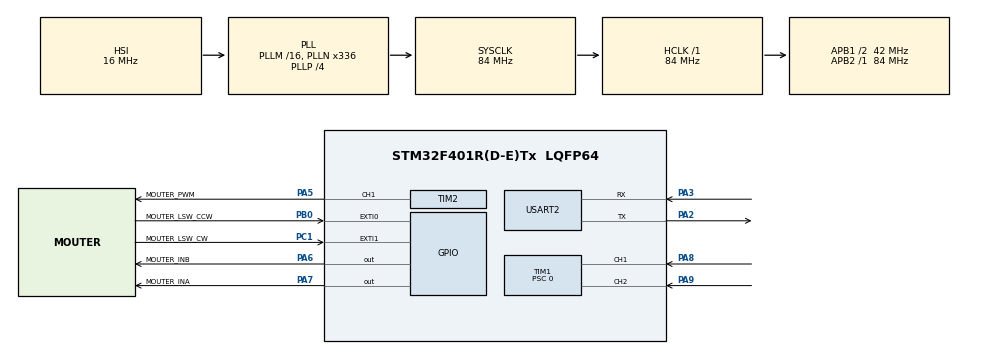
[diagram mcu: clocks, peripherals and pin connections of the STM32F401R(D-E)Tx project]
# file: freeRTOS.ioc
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FREERTOS.INCLUDE_vTaskDelayUntil=1
FREERTOS.Mutexes01=UartMutex,Dynamic,NULL
FREERTOS.Tasks01=defaultTask,0,256,RegulationTask,Default,NULL,Dynamic,NULL,NULL;MessageReadTask,-3,256,threadMessageRead,Default,NULL,Dynamic,NULL,NULL;RegDataSendTask,-3,512,TestDataSend,Default,NULL,Dynamic,NULL,NULL;LimitSwitchTask,2,128,LimitSwitchEXINT,Default,NULL,Dynamic,NULL,NULL
Mcu.Family=STM32F4
Mcu.Name=STM32F401R(D-E)Tx
Mcu.Package=LQFP64
NVIC.EXTI0_IRQn=true\:5\:0\:false\:false\:true\:true\:true
NVIC.EXTI1_IRQn=true\:5\:0\:false\:false\:true\:true\:true
NVIC.PriorityGroup=NVIC_PRIORITYGROUP_4
NVIC.RCC_IRQn=true\:5\:0\:false\:false\:true\:true\:true
NVIC.TIM1_BRK_TIM9_IRQn=true\:5\:0\:false\:false\:true\:true\:true
NVIC.TIM1_CC_IRQn=true\:5\:0\:false\:false\:true\:true\:true
NVIC.TIM1_TRG_COM_TIM11_IRQn=true\:5\:0\:false\:false\:true\:true\:true
NVIC.TIM1_UP_TIM10_IRQn=true\:0\:0\:false\:false\:true\:false\:true
NVIC.TimeBase=TIM1_UP_TIM10_IRQn
NVIC.TimeBaseIP=TIM10
PA13.Mode=Serial_Wire
PA13.Signal=SYS_JTMS-SWDIO
PA14.Mode=Serial_Wire
PA14.Signal=SYS_JTCK-SWCLK
PA2.GPIO_Mode=GPIO_MODE_AF_PP
PA2.GPIO_PuPd=GPIO_PULLUP
PA2.GPIO_Speed=GPIO_SPEED_FREQ_VERY_HIGH
PA2.Mode=Asynchronous
PA2.Signal=USART2_TX
PA3.GPIO_Mode=GPIO_MODE_AF_PP
PA3.GPIO_PuPd=GPIO_PULLUP
PA3.GPIO_Speed=GPIO_SPEED_FREQ_VERY_HIGH
PA3.Mode=Asynchronous
PA3.Signal=USART2_RX
PA5.GPIO_Label=MOUTER_PWM
PA5.Signal=S_TIM2_CH1_ETR
PA6.GPIO_Label=MOUTER_INB
PA6.Signal=GPIO_Output
PA7.GPIO_Label=MOUTER_INA
PA7.Signal=GPIO_Output
PA8.GPIO_ModeDefaultPP=GPIO_MODE_AF_PP
PA8.GPIO_PuPd=GPIO_PULLUP
PA8.GPIO_Speed=GPIO_SPEED_FREQ_LOW
PA8.Signal=S_TIM1_CH1
PA9.GPIO_ModeDefaultPP=GPIO_MODE_AF_PP
PA9.GPIO_PuPd=GPIO_PULLUP
PA9.GPIO_Speed=GPIO_SPEED_FREQ_LOW
PA9.Signal=S_TIM1_CH2
PB0.GPIO_Label=MOUTER_LSW_CCW
PB0.Signal=GPXTI0
PB3.Signal=SYS_JTDO-SWO
PC1.GPIO_Label=MOUTER_LSW_CW
PC1.Signal=GPXTI1
PC14-OSC32_IN.Mode=LSE-External-Oscillator
PC14-OSC32_IN.Signal=RCC_OSC32_IN
PC15-OSC32_OUT.Mode=LSE-External-Oscillator
PC15-OSC32_OUT.Signal=RCC_OSC32_OUT
PH0\ -\ OSC_IN.Mode=HSE-External-Clock-Source
PH0\ -\ OSC_IN.Signal=RCC_OSC_IN
PH1\ -\ OSC_OUT.Mode=HSE-External-Clock-Source
PH1\ -\ OSC_OUT.Signal=RCC_OSC_OUT
ProjectManager.HeapSize=0x200
ProjectManager.StackSize=0x400
ProjectManager.TargetToolchain=TrueSTUDIO
RCC.48MHZClocksFreq_Value=48000000
RCC.AHBFreq_Value=84000000
RCC.APB1CLKDivider=RCC_HCLK_DIV2
RCC.APB1Freq_Value=42000000
RCC.APB1TimFreq_Value=84000000
RCC.APB2Freq_Value=84000000
RCC.APB2TimFreq_Value=84000000
RCC.CortexFreq_Value=84000000
RCC.HCLKFreq_Value=84000000
RCC.HSE_VALUE=8000000
RCC.HSI_VALUE=16000000
RCC.PLLN=336
RCC.PLLP=RCC_PLLP_DIV4
RCC.PLLQ=7
RCC.SYSCLKFreq_VALUE=84000000
RCC.SYSCLKSource=RCC_SYSCLKSOURCE_PLLCLK
RCC.VCOOutputFreq_Value=336000000
SH.S_TIM1_CH1.0=TIM1_CH1,Encoder_Interface
SH.S_TIM1_CH2.0=TIM1_CH2,Encoder_Interface
SH.S_TIM2_CH1_ETR.0=TIM2_CH1,PWM Generation1 CH1
TIM1.EncoderMode=TIM_ENCODERMODE_TI12
TIM1.IC2Filter=6
TIM1.Period=65535
TIM1.Prescaler=0
TIM2.Channel-PWM\ Generation1\ CH1=TIM_CHANNEL_1
TIM2.Period=1050
TIM2.Prescaler=3
USART2.VirtualMode=VM_ASYNC
VP_FREERTOS_VS_ENABLE.Mode=Enabled
VP_SYS_VS_tim10.Mode=TIM10
board=NUCLEO-F401RE

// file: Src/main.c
/* USER CODE BEGIN Header */
/**
 ******************************************************************************
 * @file           : main.c
 * @brief          : Main program body
 ******************************************************************************
 ** This notice applies to any and all portions of this file
 * that are not between comment pairs USER CODE BEGIN and
 * USER CODE END. Other portions of this file, whether
 * inserted by the user or by software development tools
 * are owned by their respective copyright owners.
 *
 * COPYRIGHT(c) 2019 STMicroelectronics
 *
 * Redistribution and use in source and binary forms, with or without modification,
 * are permitted provided that the following conditions are met:
 *   1. Redistributions of source code must retain the above copyright notice,
 *      this list of conditions and the following disclaimer.
 *   2. Redistributions in binary form must reproduce the above copyright notice,
 *      this list of conditions and the following disclaimer in the documentation
 *      and/or other materials provided with the distribution.
 *   3. Neither the name of STMicroelectronics nor the names of its contributors
 *      may be used to endorse or promote products derived from this software
 *      without specific prior written permission.
 *
 * THIS SOFTWARE IS PROVIDED BY THE COPYRIGHT HOLDERS AND CONTRIBUTORS "AS IS"
 * AND ANY EXPRESS OR IMPLIED WARRANTIES, INCLUDING, BUT NOT LIMITED TO, THE
 * IMPLIED WARRANTIES OF MERCHANTABILITY AND FITNESS FOR A PARTICULAR PURPOSE ARE
 * DISCLAIMED. IN NO EVENT SHALL THE COPYRIGHT HOLDER OR CONTRIBUTORS BE LIABLE
 * FOR ANY DIRECT, INDIRECT, INCIDENTAL, SPECIAL, EXEMPLARY, OR CONSEQUENTIAL
 * DAMAGES (INCLUDING, BUT NOT LIMITED TO, PROCUREMENT OF SUBSTITUTE GOODS OR
 * SERVICES; LOSS OF USE, DATA, OR PROFITS; OR BUSINESS INTERRUPTION) HOWEVER
 * CAUSED AND ON ANY THEORY OF LIABILITY, WHETHER IN CONTRACT, STRICT LIABILITY,
 * OR TORT (INCLUDING NEGLIGENCE OR OTHERWISE) ARISING IN ANY WAY OUT OF THE USE
 * OF THIS SOFTWARE, EVEN IF ADVISED OF THE POSSIBILITY OF SUCH DAMAGE.
 *
 ******************************************************************************
 */
/* USER CODE END Header */

#include "main.h"
#include "cmsis_os.h"
#include "tim.h"
#include "usart.h"
#include "gpio.h"

void SystemClock_Config(void);
void MX_FREERTOS_Init(void);

int main(void)
{

  /* MCU Configuration--------------------------------------------------------*/

  /* Reset of all peripherals, Initializes the Flash interface and the Systick. */
  HAL_Init();

  /* Configure the system clock */
  SystemClock_Config();

  /* Initialize all configured peripherals */
  MX_GPIO_Init();
  MX_USART2_UART_Init();
  MX_TIM1_Init();
  MX_TIM2_Init();
  /* USER CODE BEGIN 2 */
	//xTaskCreate(Led_GateKeeper,(const char* const)"led_gate", configMINIMAL_STACK_SIZE, 0, 2, 0);
	HAL_TIM_Encoder_Start(&htim1, TIM_CHANNEL_1);
	HAL_TIM_Encoder_Start(&htim1, TIM_CHANNEL_2);
	HAL_TIM_PWM_Start(&htim2, TIM_CHANNEL_1);
  /* USER CODE END 2 */

  /* Call init function for freertos objects (in freertos.c) */
  MX_FREERTOS_Init();

  /* Start scheduler */
  osKernelStart();

  /* We should never get here as control is now taken by the scheduler */

  /* Infinite loop */
	while (1) {

	}
}

void SystemClock_Config(void)
{
  RCC_OscInitTypeDef RCC_OscInitStruct = {0};
  RCC_ClkInitTypeDef RCC_ClkInitStruct = {0};

  /**Configure the main internal regulator output voltage
  */
  __HAL_RCC_PWR_CLK_ENABLE();
  __HAL_PWR_VOLTAGESCALING_CONFIG(PWR_REGULATOR_VOLTAGE_SCALE2);
  /**Initializes the CPU, AHB and APB busses clocks
  */
  RCC_OscInitStruct.OscillatorType = RCC_OSCILLATORTYPE_HSI;
  RCC_OscInitStruct.HSIState = RCC_HSI_ON;
  RCC_OscInitStruct.HSICalibrationValue = RCC_HSICALIBRATION_DEFAULT;
  RCC_OscInitStruct.PLL.PLLState = RCC_PLL_ON;
  RCC_OscInitStruct.PLL.PLLSource = RCC_PLLSOURCE_HSI;
  RCC_OscInitStruct.PLL.PLLM = 16;
  RCC_OscInitStruct.PLL.PLLN = 336;
  RCC_OscInitStruct.PLL.PLLP = RCC_PLLP_DIV4;
  RCC_OscInitStruct.PLL.PLLQ = 7;
  if (HAL_RCC_OscConfig(&RCC_OscInitStruct) != HAL_OK)
  {
    Error_Handler();
  }
  /**Initializes the CPU, AHB and APB busses clocks
  */
  RCC_ClkInitStruct.ClockType = RCC_CLOCKTYPE_HCLK|RCC_CLOCKTYPE_SYSCLK
                              |RCC_CLOCKTYPE_PCLK1|RCC_CLOCKTYPE_PCLK2;
  RCC_ClkInitStruct.SYSCLKSource = RCC_SYSCLKSOURCE_PLLCLK;
  RCC_ClkInitStruct.AHBCLKDivider = RCC_SYSCLK_DIV1;
  RCC_ClkInitStruct.APB1CLKDivider = RCC_HCLK_DIV2;
  RCC_ClkInitStruct.APB2CLKDivider = RCC_HCLK_DIV1;

  if (HAL_RCC_ClockConfig(&RCC_ClkInitStruct, FLASH_LATENCY_2) != HAL_OK)
  {
    Error_Handler();
  }
}

void HAL_TIM_PeriodElapsedCallback(TIM_HandleTypeDef *htim)
{
  if (htim->Instance == TIM10) {
    HAL_IncTick();
  }
}

void Error_Handler(void)
{
}

/************************ (C) COPYRIGHT STMicroelectronics *****END OF FILE****/

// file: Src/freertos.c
/* USER CODE BEGIN Header */
/**
 ******************************************************************************
 * File Name          : freertos.c
 * Description        : Code for freertos applications
 ******************************************************************************
 * This notice applies to any and all portions of this file
 * that are not between comment pairs USER CODE BEGIN and
 * USER CODE END. Other portions of this file, whether
 * inserted by the user or by software development tools
 * are owned by their respective copyright owners.
 *
 * Copyright (c) 2019 STMicroelectronics International N.V.
 * All rights reserved.
 *
 * Redistribution and use in source and binary forms, with or without
 * modification, are permitted, provided that the following conditions are met:
 *
 * 1. Redistribution of source code must retain the above copyright notice,
 *    this list of conditions and the following disclaimer.
 * 2. Redistributions in binary form must reproduce the above copyright notice,
 *    this list of conditions and the following disclaimer in the documentation
 *    and/or other materials provided with the distribution.
 * 3. Neither the name of STMicroelectronics nor the names of other
 *    contributors to this software may be used to endorse or promote products
 *    derived from this software without specific written permission.
 * 4. This software, including modifications and/or derivative works of this
 *    software, must execute solely and exclusively on microcontroller or
 *    microprocessor devices manufactured by or for STMicroelectronics.
 * 5. Redistribution and use of this software other than as permitted under
 *    this license is void and will automatically terminate your rights under
 *    this license.
 *
 * THIS SOFTWARE IS PROVIDED BY STMICROELECTRONICS AND CONTRIBUTORS "AS IS"
 * AND ANY EXPRESS, IMPLIED OR STATUTORY WARRANTIES, INCLUDING, BUT NOT
 * LIMITED TO, THE IMPLIED WARRANTIES OF MERCHANTABILITY, FITNESS FOR A
 * PARTICULAR PURPOSE AND NON-INFRINGEMENT OF THIRD PARTY INTELLECTUAL PROPERTY
 * RIGHTS ARE DISCLAIMED TO THE FULLEST EXTENT PERMITTED BY LAW. IN NO EVENT
 * SHALL STMICROELECTRONICS OR CONTRIBUTORS BE LIABLE FOR ANY DIRECT, INDIRECT,
 * INCIDENTAL, SPECIAL, EXEMPLARY, OR CONSEQUENTIAL DAMAGES (INCLUDING, BUT NOT
 * LIMITED TO, PROCUREMENT OF SUBSTITUTE GOODS OR SERVICES; LOSS OF USE, DATA,
 * OR PROFITS; OR BUSINESS INTERRUPTION) HOWEVER CAUSED AND ON ANY THEORY OF
 * LIABILITY, WHETHER IN CONTRACT, STRICT LIABILITY, OR TORT (INCLUDING
 * NEGLIGENCE OR OTHERWISE) ARISING IN ANY WAY OUT OF THE USE OF THIS SOFTWARE,
 * EVEN IF ADVISED OF THE POSSIBILITY OF SUCH DAMAGE.
 *
 ******************************************************************************
 */
/* USER CODE END Header */

#include "FreeRTOS.h"
#include "task.h"
#include "main.h"
#include "cmsis_os.h"

/* USER CODE BEGIN Includes */
#include "tim.h"
#include "usart.h"
#include "message.h"
#include "regulation.h"
#include "limit_switch.h"
/* USER CODE END Includes */

/* USER CODE BEGIN Variables */
osThreadId Task3Handle;
/* USER CODE END Variables */
osThreadId defaultTaskHandle;
osThreadId MessageReadTaskHandle;
osThreadId RegDataSendTaskHandle;
osThreadId LimitSwitchTaskHandle;
osMutexId UartMutexHandle;

/* USER CODE BEGIN FunctionPrototypes */
void Thread3(void const * argument);
void threadMessageRead(void const * argument);
/* USER CODE END FunctionPrototypes */

void RegulationTask(void const * argument);
void threadMessageRead(void const * argument);
void TestDataSend(void const * argument);
void LimitSwitchEXINT(void const * argument);

void MX_FREERTOS_Init(void); /* (MISRA C 2004 rule 8.1) */

void MX_FREERTOS_Init(void) {
  /* USER CODE BEGIN Init */
	regulator_init();
  /* USER CODE END Init */

  /* Create the mutex(es) */
  /* definition and creation of UartMutex */
  osMutexDef(UartMutex);
  UartMutexHandle = osMutexCreate(osMutex(UartMutex));

  /* Create the thread(s) */
  /* definition and creation of defaultTask */
  osThreadDef(defaultTask, RegulationTask, osPriorityNormal, 0, 256);
  defaultTaskHandle = osThreadCreate(osThread(defaultTask), NULL);

  /* definition and creation of MessageReadTask */
  osThreadDef(MessageReadTask, threadMessageRead, osPriorityIdle, 0, 256);
  MessageReadTaskHandle = osThreadCreate(osThread(MessageReadTask), NULL);

  /* definition and creation of RegDataSendTask */
  osThreadDef(RegDataSendTask, TestDataSend, osPriorityIdle, 0, 512);
  RegDataSendTaskHandle = osThreadCreate(osThread(RegDataSendTask), NULL);

  /* definition and creation of LimitSwitchTask */
  osThreadDef(LimitSwitchTask, LimitSwitchEXINT, osPriorityHigh, 0, 128);
  LimitSwitchTaskHandle = osThreadCreate(osThread(LimitSwitchTask), NULL);

}

void RegulationTask(void const * argument)
{

  /* USER CODE BEGIN RegulationTask */
	TickType_t xLastWakeTime;
	const TickType_t xFrequency = 1;

	uint8_t txData[20] = "Hello from Thread1\r\n";

	//__HAL_TIM_SetCompare(&htim2, TIM_CHANNEL_1, 0); //@NOTE: Check channel if changing board

	xLastWakeTime = xTaskGetTickCount();
	/* Infinite loop */
	for (;;)
	{

		regulator();
//		count++;
//		if(count == 800)
//		{
//			//HAL_GPIO_TogglePin(GPIOA, GPIO_PIN_5);
//			count = 0;
//		}
//		__HAL_TIM_SetCompare(&htim2, TIM_CHANNEL_1, count);

		//__HAL_TIM_SetCompare(&htim2, TIM_CHANNEL_1, 600);

		vTaskDelayUntil(&xLastWakeTime, xFrequency);
		//xSemaphoreTake(UartMutexHandle, portMAX_DELAY);
		//HAL_UART_Transmit(&huart2, txData, 20, 5);
		//xSemaphoreGive(UartMutexHandle);

	}
  /* USER CODE END RegulationTask */
}

void threadMessageRead(void const * argument)
{
  /* USER CODE BEGIN threadMessageRead */
  /* Infinite loop */

	for(;;)
  {
		message_read();
		//osDelay(1000);
  }
  /* USER CODE END threadMessageRead */
}

void TestDataSend(void const * argument)
{
  /* USER CODE BEGIN TestDataSend */
  /* Infinite loop */
  for(;;)
  {
    osDelay(1000);
  }
  /* USER CODE END TestDataSend */
}

void LimitSwitchEXINT(void const * argument)
{
  /* USER CODE BEGIN LimitSwitchEXINT */
  /* Infinite loop */
	char msg[25] = "Hello from LSWEXINT\n\r";
  for(;;)
  {
    vTaskSuspend(NULL);
		limit_switch_handle();
    xSemaphoreTake(getUartMutex(), portMAX_DELAY);
		HAL_UART_Transmit(&huart2, msg, sizeof(msg), 5);
		xSemaphoreGive(getUartMutex());
  }
  /* USER CODE END LimitSwitchEXINT */
}

/* USER CODE BEGIN Application */

osMutexId getUartMutex(void)
{
	return UartMutexHandle;
}

void HAL_GPIO_EXTI_Callback(uint16_t GPIO_Pin)
{
	BaseType_t checkIfYieldRequired;

	set_lsw_flag(GPIO_Pin);

	checkIfYieldRequired = xTaskResumeFromISR(LimitSwitchTaskHandle);
	portYIELD_FROM_ISR(checkIfYieldRequired);
}

/* USER CODE END Application */

/************************ (C) COPYRIGHT STMicroelectronics *****END OF FILE****/
